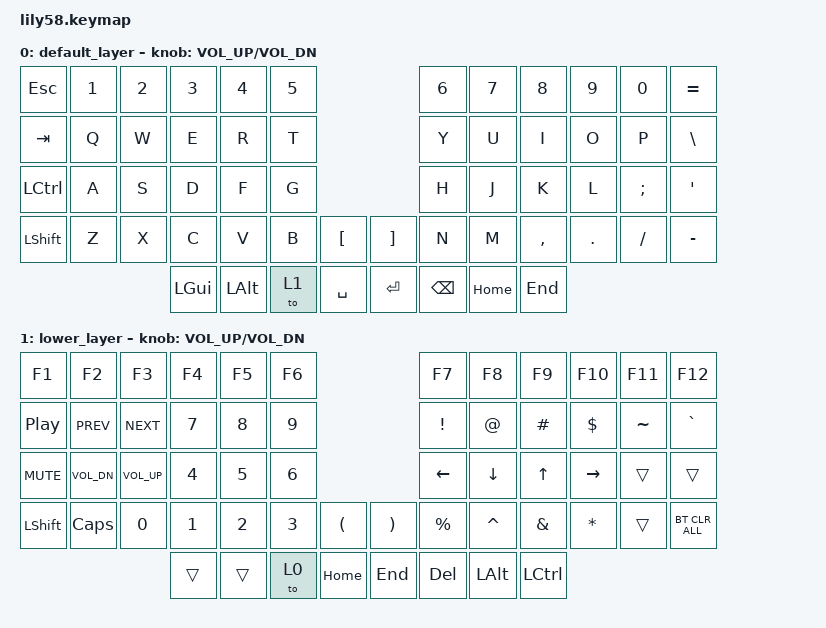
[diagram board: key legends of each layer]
/*
 * Copyright (c) 2020 The ZMK Contributors
 *
 * SPDX-License-Identifier: MIT
 */

#include <behaviors.dtsi>
#include <dt-bindings/zmk/keys.h>
#include <dt-bindings/zmk/bt.h>
#include <dt-bindings/zmk/ext_power.h>

/ {
    combos {
        compatible = "zmk,combos";
        combo_right_shift {
            timeout-ms = <50>;
            key-positions = <36 43>;
            bindings = <&kp GT>;
            layers = <1>;
        };
        combo_left_shift {
            timeout-ms = <50>;
            key-positions = <36 42>;
            bindings = <&kp LT>;
            layers = <1>;
        };
    };
    keymap {
        compatible = "zmk,keymap";

        default_layer {
// ------------------------------------------------------------------------------------------------------------
// |  ESC  |  1  |  2  |  3   |  4   |  5   |                   |  6   |  7    |  8    |  9   |   0   |   `   |
// |  TAB  |  Q  |  W  |  E   |  R   |  T   |                   |  Y   |  U    |  I    |  O   |   P   |   -   |
// |  CTRL |  A  |  S  |  D   |  F   |  G   |                   |  H   |  J    |  K    |  L   |   ;   |   '   |
// | SHIFT |  Z  |  X  |  C   |  V   |  B   |   "["  |  |  "]"  |  N   |  M    |  ,    |  .   |   /   | SHIFT |
//                     | ALT  | GUI  | LOWER|  SPACE |  | ENTER | RAISE| BSPC  | GUI   |
            bindings = <
&kp ESC   &kp N1 &kp N2 &kp N3   &kp N4   &kp N5                     &kp N6    &kp N7   &kp N8    &kp N9  &kp N0   &kp EQUAL
&kp TAB   &kp Q  &kp W  &kp E    &kp R    &kp T                      &kp Y     &kp U    &kp I     &kp O   &kp P    &kp BSLH
&kp LCTRL &kp A  &kp S  &kp D    &kp F    &kp G                      &kp H     &kp J    &kp K     &kp L   &kp SEMI &kp SQT
&kp LSHFT &kp Z  &kp X  &kp C    &kp V    &kp B  &kp LBKT   &kp RBKT &kp N     &kp M    &kp COMMA &kp DOT &kp FSLH &kp MINUS
                        &kp LGUI &kp LALT &to 1  &kp SPACE  &kp RET  &kp BSPC  &kp HOME  &kp END
            >;

            sensor-bindings = <&inc_dec_kp C_VOL_UP C_VOL_DN>;
        };

        lower_layer {
// ------------------------------------------------------------------------------------------------------------
// | BTCLR | BT1 | BT2 |  BT3 |  BT4 |  BT5 |                   |      |       |       |      |       |       |
// |  F1   |  F2 |  F3 |  F4  |  F5  |  F6  |                   |  F7  |  F8   |  F9   |  F10 |  F11  |  F12  |
// |   `   |  !  |  @  |  #   |  $   |  %   |                   |  ^   |  &    |  *    |  (   |   )   |   ~   |
// |       |     |     |      |      |      |        |  |       |      |  _    |  +    |  {   |   }   |  "|"  |
//                     |      |      |      |        |  |       |      |       |       |
            bindings = <
&kp F1     &kp F2       &kp F3       &kp F4   &kp F5   &kp F6                        &kp F7    &kp F8    &kp F9    &kp F10   &kp F11    &kp F12
&kp C_PP   &kp C_PREV   &kp C_NEXT   &kp N7   &kp N8   &kp N9                        &kp EXCL  &kp AT    &kp HASH  &kp DLLR  &kp TILDE  &kp GRAVE
&kp C_MUTE &kp C_VOL_DN &kp C_VOL_UP &kp N4   &kp N5   &kp N6                        &kp LEFT  &kp DOWN  &kp UP    &kp RIGHT &trans     &trans
&kp LSHFT  &kp CAPS     &kp N0       &kp N1   &kp N2   &kp N3  &kp LPAR    &kp RPAR  &kp PRCNT &kp CARET &kp AMPS  &kp STAR  &trans     &bt BT_CLR_ALL
                                     &trans   &trans   &to 0   &kp HOME    &kp END   &kp DEL   &kp LALT  &kp LCTRL
            >;

            sensor-bindings = <&inc_dec_kp C_VOL_UP C_VOL_DN>;
        };
    };
};

